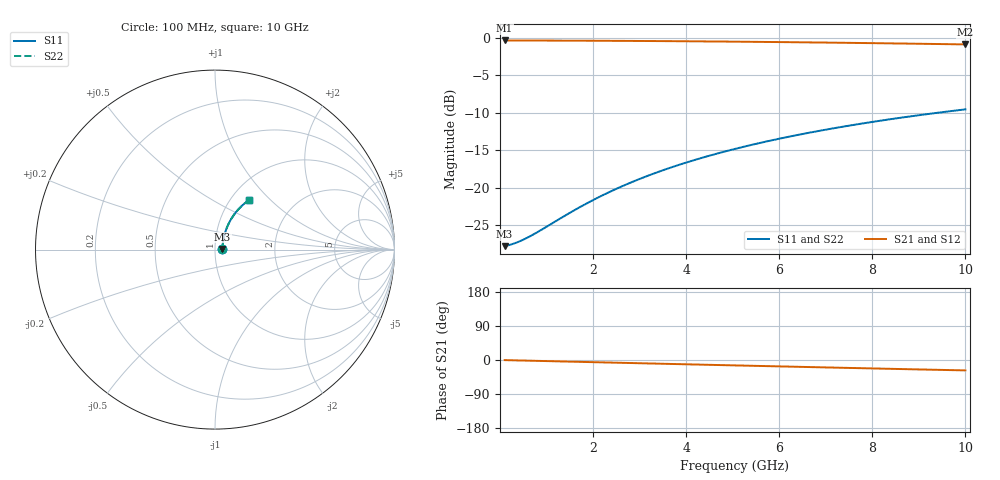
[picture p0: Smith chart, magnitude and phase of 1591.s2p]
# Hz S RI R 50.00
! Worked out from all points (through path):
!   100 points, 100 MHz to 10 GHz, reference 50 ohm
!   highest |S21| = -0.36 dB at 100 MHz (marker M1); lowest = -0.9 dB at 10 GHz (marker M2)
!   group delay of S21, straight-line fit = 7.65 ps
!   lowest |S11| = -27.8 dB at 100 MHz (marker M3), VSWR 1.09, Z = 54.3 + j0.368 ohm
!   |S11| at or under -10 dB: start of sweep to 9.393 GHz
!   |S22| runs from -27.8 to -9.5 dB; largest |S21 - S12| = 0
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1e8  0.0408 0.00338  0.9592 -0.00478  0.9592 -0.00478  0.0408 0.00338
2e8  0.0411 0.00676  0.9589 -0.00956  0.9589 -0.00956  0.0411 0.00676
3e8  0.0414 0.0101  0.9586 -0.0143  0.9586 -0.0143  0.0414 0.0101
4e8  0.0417 0.0135  0.9583 -0.0191  0.9583 -0.0191  0.0417 0.0135
6e8  0.0422 0.0202  0.9577 -0.0286  0.9577 -0.0286  0.0422 0.0202
8e8  0.0429 0.0269  0.957 -0.0382  0.957 -0.0382  0.0429 0.0269
1.4e9  0.0456 0.047  0.9542 -0.0666  0.9542 -0.0666  0.0456 0.047
1.8e9  0.0479 0.0602  0.9517 -0.0854  0.9517 -0.0854  0.0479 0.0602
2.2e9  0.0508 0.0733  0.9487 -0.1041  0.9487 -0.1041  0.0508 0.0733
2.6e9  0.0541 0.0863  0.9452 -0.1227  0.9452 -0.1227  0.0541 0.0863
3e9  0.0579 0.099  0.9412 -0.1411  0.9412 -0.1411  0.0579 0.099
3.4e9  0.0622 0.1116  0.9366 -0.1593  0.9366 -0.1593  0.0622 0.1116
3.8e9  0.067 0.124  0.9315 -0.1773  0.9315 -0.1773  0.067 0.124
4.2e9  0.0722 0.1361  0.926 -0.195  0.926 -0.195  0.0722 0.1361
4.6e9  0.0779 0.148  0.92 -0.2125  0.92 -0.2125  0.0779 0.148
5.1e9  0.0855 0.1624  0.9118 -0.234  0.9118 -0.234  0.0855 0.1624
5.9e9  0.0991 0.1845  0.8973 -0.2674  0.8973 -0.2674  0.0991 0.1845
6.7e9  0.1142 0.2052  0.8812 -0.2995  0.8812 -0.2995  0.1142 0.2052
7.5e9  0.1306 0.2246  0.8636 -0.3301  0.8636 -0.3301  0.1306 0.2246
8.4e9  0.1505 0.2445  0.8423 -0.3629  0.8423 -0.3629  0.1505 0.2445
9.2e9  0.1692 0.2605  0.8221 -0.3903  0.8221 -0.3903  0.1692 0.2605
1e10  0.1887 0.275  0.801 -0.4162  0.801 -0.4162  0.1887 0.275
